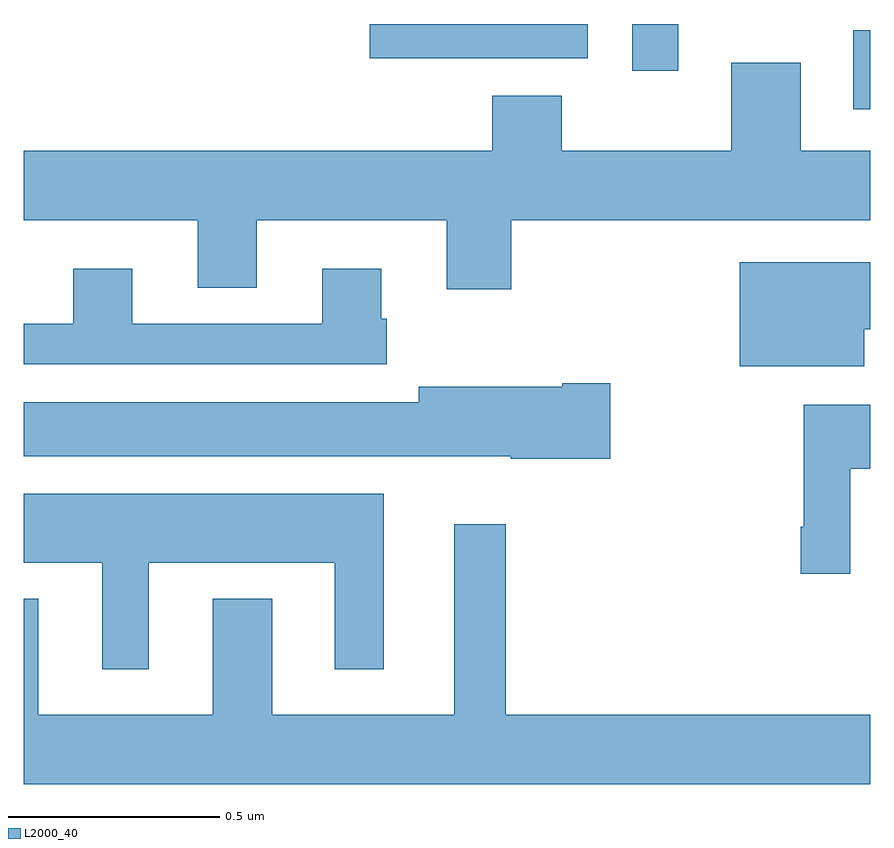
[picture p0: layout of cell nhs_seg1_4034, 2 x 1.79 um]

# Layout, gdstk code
import gdstk
lib = gdstk.Library(unit=1e-6, precision=1e-09)
def R(c, l, rs):  # rectangles x0, y0, x1, y1
    for r in rs: c.add(gdstk.rectangle(r[:2], r[2:], *l))
def P(c, l, *ps):  # polygons
    for p in ps: c.add(gdstk.Polygon(p, *l))
L2000_40 = (2000, 40)

nhs_seg1_4034 = lib.new_cell('nhs_seg1_4034')
R(nhs_seg1_4034, L2000_40, [(162.959,547.998,163,548.184), (162.437,548.088,162.546,548.199), (161.817,548.118,162.333,548.199)])
P(nhs_seg1_4034, L2000_40, [(162.152,547.736),(163,547.736),(163,547.9),(162.835,547.9),(162.835,548.107),(162.671,548.107),(162.671,547.9),(162.271,547.9),(162.271,548.029),(162.107,548.029),(162.107,547.9),(161,547.9),(161,547.736),(161.411,547.736),(161.411,547.576),(161.551,547.576),(161.551,547.736),(161.999,547.736),(161.999,547.572),(162.152,547.572)],
  [(162.985,547.478),(163,547.478),(163,547.636),(162.692,547.636),(162.692,547.391),(162.985,547.391)],
  [(161.858,547.503),(161.845,547.503),(161.845,547.621),(161.705,547.621),(161.705,547.491),(161.257,547.491),(161.257,547.621),(161.117,547.621),(161.117,547.491),(161,547.491),(161,547.395),(161.858,547.395)],
  [(162.385,547.35),(162.272,547.35),(162.272,547.342),(161.933,547.342),(161.933,547.306),(161,547.306),(161,547.178),(162.15,547.178),(162.15,547.172),(162.385,547.172)],
  [(162.953,547.148),(163,547.148),(163,547.3),(162.843,547.3),(162.843,547.012),(162.835,547.012),(162.835,546.9),(162.953,546.9)],
  [(161.296,546.926),(161.735,546.926),(161.735,546.675),(161.851,546.675),(161.851,547.09),(161,547.09),(161,546.926),(161.186,546.926),(161.186,546.675),(161.296,546.675)],
  [(163,546.568),(162.139,546.568),(162.139,547.018),(162.017,547.018),(162.017,546.568),(161.587,546.568),(161.587,546.841),(161.447,546.841),(161.447,546.568),(161.035,546.568),(161.035,546.841),(161,546.841),(161,546.404),(163,546.404)])

lib.write_gds('nhs_seg1_4034.gds')
